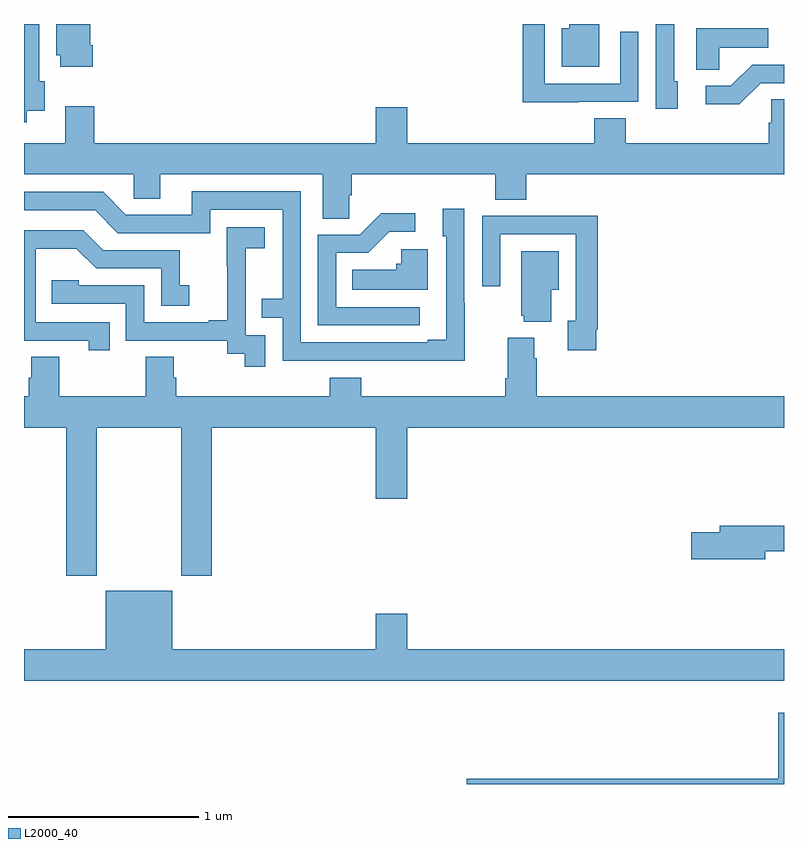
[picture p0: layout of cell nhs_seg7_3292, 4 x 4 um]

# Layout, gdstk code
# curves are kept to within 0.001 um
import gdstk
lib = gdstk.Library(unit=1e-6, precision=1e-09)
def P(c, l, *ps):  # polygons
    for p in ps: c.add(gdstk.Polygon(p, *l))
L2000_40 = (2000, 40)

nhs_seg7_3292 = lib.new_cell('nhs_seg7_3292')
P(nhs_seg7_3292, L2000_40, [(319.015,1075.544),(319.108,1075.544),(319.108,1075.698),(319.081,1075.698),(319.081,1076),(319,1076),(319,1075.484),(319.015,1075.484)],
  [(319.361,1075.888),(319.348,1075.888),(319.348,1076),(319.169,1076),(319.169,1075.836),(319.19,1075.836),(319.19,1075.776),(319.361,1075.776)],
  [(322.441,1075.698),(322.422,1075.698),(322.422,1076),(322.326,1076),(322.326,1075.554),(322.441,1075.554)],
  [(322.027,1076),(321.869,1076),(321.869,1075.978),(321.83,1075.978),(321.83,1075.775),(322.027,1075.775)],
  [(321.917,1075.59),(322.233,1075.59),(322.233,1075.96),(322.137,1075.96),(322.137,1075.686),(321.741,1075.686),(321.741,1076),(321.625,1076),(321.625,1075.589),(321.917,1075.589)],
  [(322.659,1075.874),(322.916,1075.874),(322.916,1075.978),(322.538,1075.978),(322.538,1075.759),(322.659,1075.759)],
  [(322.878,1075.689),(323,1075.689),(323,1075.785),(322.832,1075.785),(322.721,1075.674),(322.587,1075.674),(322.587,1075.577),(322.765,1075.577)],
  [(320.712,1075.099),(320.726,1075.099),(320.726,1075.208),(321.479,1075.208),(321.479,1075.075),(321.644,1075.075),(321.644,1075.208),(323,1075.208),(323,1075.604),(322.932,1075.604),(322.932,1075.481),(322.919,1075.481),(322.919,1075.372),(322.166,1075.372),(322.166,1075.505),(322.001,1075.505),(322.001,1075.372),(321.016,1075.372),(321.016,1075.561),(320.852,1075.561),(320.852,1075.372),(319.37,1075.372),(319.37,1075.567),(319.217,1075.567),(319.217,1075.372),(319,1075.372),(319,1075.208),(319.578,1075.208),(319.578,1075.081),(319.717,1075.081),(319.717,1075.208),(320.573,1075.208),(320.573,1074.976),(320.712,1074.976)],
  [(321.321,1074.533),(321.318,1074.533),(321.318,1075.027),(321.203,1075.027),(321.203,1074.882),(321.222,1074.882),(321.222,1074.337),(321.125,1074.337),(321.125,1074.324),(320.457,1074.324),(320.457,1075.119),(319.883,1075.119),(319.883,1074.996),(319.536,1074.996),(319.416,1075.116),(319,1075.116),(319,1075.02),(319.374,1075.02),(319.494,1074.9),(319.98,1074.9),(319.98,1075.023),(320.361,1075.023),(320.361,1074.554),(320.251,1074.554),(320.251,1074.453),(320.361,1074.453),(320.361,1074.228),(321.321,1074.227)],
  [(321.082,1074.51),(320.643,1074.51),(320.643,1074.795),(320.812,1074.795),(320.923,1074.906),(321.058,1074.906),(321.058,1075.004),(320.879,1075.004),(320.766,1074.891),(320.547,1074.891),(320.547,1074.414),(321.082,1074.414)],
  [(322.012,1074.394),(322.019,1074.394),(322.019,1074.992),(321.727,1074.992),(321.727,1074.99),(321.411,1074.99),(321.411,1074.621),(321.507,1074.621),(321.507,1074.894),(321.903,1074.894),(321.903,1074.438),(321.863,1074.438),(321.863,1074.282),(322.012,1074.282)],
  [(320.271,1074.363),(320.166,1074.363),(320.166,1074.593),(320.168,1074.593),(320.168,1074.821),(320.266,1074.821),(320.266,1074.931),(320.068,1074.931),(320.068,1074.725),(320.069,1074.725),(320.069,1074.442),(319.973,1074.442),(319.973,1074.429),(319.632,1074.429),(319.632,1074.624),(319.287,1074.624),(319.287,1074.651),(319.147,1074.651),(319.147,1074.528),(319.536,1074.528),(319.536,1074.333),(320.07,1074.333),(320.07,1074.265),(320.163,1074.265),(320.163,1074.195),(320.271,1074.195)],
  [(319.451,1074.429),(319.062,1074.429),(319.062,1074.818),(319.276,1074.818),(319.38,1074.714),(319.722,1074.714),(319.722,1074.516),(319.87,1074.516),(319.87,1074.625),(319.821,1074.625),(319.821,1074.81),(319.417,1074.81),(319.312,1074.915),(319,1074.915),(319,1074.333),(319.34,1074.333),(319.34,1074.282),(319.451,1074.282)],
  [(321.124,1074.814),(320.985,1074.814),(320.985,1074.738),(320.959,1074.738),(320.959,1074.706),(320.728,1074.706),(320.728,1074.602),(321.124,1074.602)],
  [(321.775,1074.602),(321.814,1074.602),(321.814,1074.805),(321.617,1074.805),(321.617,1074.465),(321.629,1074.465),(321.629,1074.434),(321.775,1074.434)],
  [(319.383,1073.876),(319.828,1073.876),(319.828,1073.097),(319.988,1073.097),(319.988,1073.876),(320.852,1073.876),(320.852,1073.502),(321.016,1073.502),(321.016,1073.876),(323,1073.876),(323,1074.04),(321.698,1074.04),(321.698,1074.242),(321.685,1074.242),(321.685,1074.349),(321.545,1074.349),(321.545,1074.136),(321.533,1074.136),(321.533,1074.04),(320.774,1074.04),(320.774,1074.139),(320.609,1074.139),(320.609,1074.04),(319.802,1074.04),(319.802,1074.138),(319.789,1074.138),(319.789,1074.248),(319.642,1074.248),(319.642,1074.04),(319.185,1074.04),(319.185,1074.248),(319.037,1074.248),(319.037,1074.138),(319.025,1074.138),(319.025,1074.04),(319,1074.04),(319,1073.876),(319.223,1073.876),(319.223,1073.097),(319.383,1073.097)],
  [(322.9,1073.224),(323,1073.224),(323,1073.36),(322.661,1073.36),(322.661,1073.324),(322.512,1073.324),(322.512,1073.182),(322.9,1073.182)],
  [(323,1072.708),(321.016,1072.708),(321.016,1072.897),(320.852,1072.897),(320.852,1072.708),(319.78,1072.708),(319.78,1073.017),(319.43,1073.017),(319.43,1072.708),(319,1072.708),(319,1072.544),(323,1072.544)],
  [(323,1072.375),(322.97,1072.375),(322.97,1072.028),(321.329,1072.028),(321.329,1072),(323,1072)])

lib.write_gds('nhs_seg7_3292.gds')
